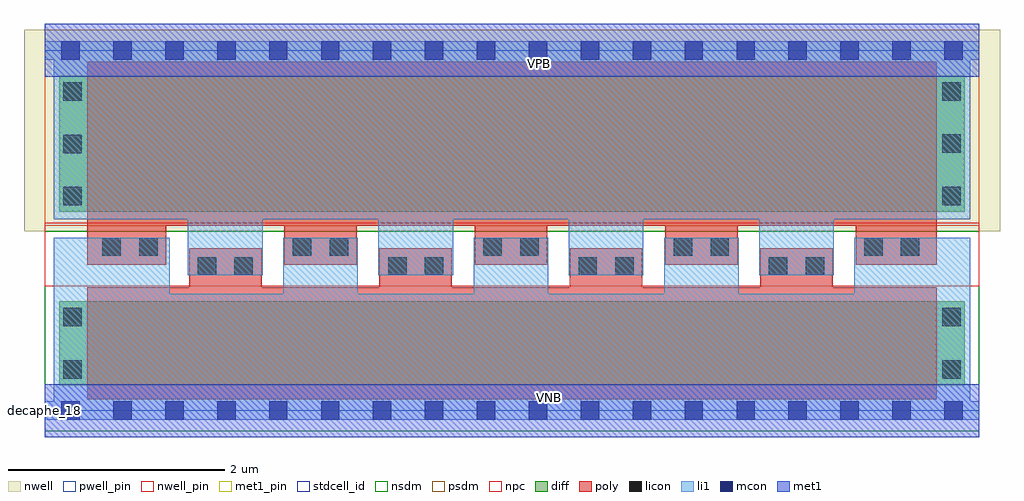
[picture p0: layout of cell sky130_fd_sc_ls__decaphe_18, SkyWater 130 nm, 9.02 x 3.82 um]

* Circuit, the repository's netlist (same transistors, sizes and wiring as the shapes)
* Copyright 2020 The SkyWater PDK Authors
*
* Licensed under the Apache License, Version 2.0 (the "License");
* you may not use this file except in compliance with the License.
* You may obtain a copy of the License at
*
*     https://www.apache.org/licenses/LICENSE-2.0
*
* Unless required by applicable law or agreed to in writing, software
* distributed under the License is distributed on an "AS IS" BASIS,
* WITHOUT WARRANTIES OR CONDITIONS OF ANY KIND, either express or implied.
* See the License for the specific language governing permissions and
* limitations under the License.
*
* SPDX-License-Identifier: Apache-2.0

.SUBCKT sky130_fd_sc_ls__decaphe_18 VGND VNB VPB VPWR
*.PININFO VGND:I VNB:I VPB:I VPWR:I
MI0 VGND VPWR VGND VNB sky130_fd_pr__nfet_01v8 m=1 w=0.775U l=7.85U mult=1 sa=0.265
+ sb=0.265 sd=0.28 area=0.063 perim=1.14
MI1 VPWR VGND VPWR VPB sky130_fd_pr__pfet_01v8 m=1 w=1.255U l=7.85U mult=1 sa=0.265
+ sb=0.265 sd=0.28 area=0.063 perim=1.14
.ENDS sky130_fd_sc_ls__decaphe_18

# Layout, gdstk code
import gdstk
lib = gdstk.Library(unit=1e-6, precision=1e-09)
def R(c, l, rs):  # rectangles x0, y0, x1, y1
    for r in rs: c.add(gdstk.rectangle(r[:2], r[2:], *l))
def A(c, l, x, y, w, h, nx, ny, dx, dy):  # array of equal rectangles
    R(c, l, [(x+i*dx, y+j*dy, x+i*dx+w, y+j*dy+h) for i in range(nx) for j in range(ny)])
def P(c, l, *ps):  # polygons
    for p in ps: c.add(gdstk.Polygon(p, *l))
nwell_pin = (64, 16)
nwell = (64, 20)
diff = (65, 20)
poly = (66, 20)
licon = (66, 44)
li1 = (67, 20)
mcon = (67, 44)
met1_pin = (68, 16)
met1 = (68, 20)
stdcell_id = (81, 4)
nsdm = (93, 44)
psdm = (94, 20)
npc = (95, 20)
pwell_pin = (122, 16)

sky130_fd_sc_ls__decaphe = lib.new_cell('sky130_fd_sc_ls__decaphe_18')
R(sky130_fd_sc_ls__decaphe, nwell_pin, [(0,3.085,8.64,3.33)])
R(sky130_fd_sc_ls__decaphe, nwell, [(-0.19,1.66,8.83,3.52)])
R(sky130_fd_sc_ls__decaphe, diff, [(0.135,0.235,8.505,1.01), (0.135,1.84,8.505,3.095)])
P(sky130_fd_sc_ls__decaphe, poly, [(8.245,1.14),(7.285,1.14),(7.285,1.5),(6.615,1.5),(6.615,1.14),(5.525,1.14),(5.525,1.5),(4.855,1.5),(4.855,1.14),(3.765,1.14),(3.765,1.5),(3.095,1.5),(3.095,1.14),(2.005,1.14),(2.005,1.5),(1.335,1.5),(1.335,1.14),(0.395,1.14),(0.395,0.105),(8.245,0.105)],
  [(8.245,3.225),(0.395,3.225),(0.395,1.35),(1.125,1.35),(1.125,1.71),(2.215,1.71),(2.215,1.35),(2.885,1.35),(2.885,1.71),(3.975,1.71),(3.975,1.35),(4.645,1.35),(4.645,1.71),(5.735,1.71),(5.735,1.35),(6.405,1.35),(6.405,1.71),(7.495,1.71),(7.495,1.35),(8.245,1.35)])
R(sky130_fd_sc_ls__decaphe, licon, [(0.175,0.295,0.345,0.465), (8.295,0.295,8.465,0.465), (0.175,0.78,0.345,0.95), (8.295,0.78,8.465,0.95), (1.415,1.25,1.585,1.42), (1.755,1.25,1.925,1.42), (3.175,1.25,3.345,1.42), (3.515,1.25,3.685,1.42), (4.935,1.25,5.105,1.42), (5.275,1.25,5.445,1.42), (6.695,1.25,6.865,1.42), (7.035,1.25,7.205,1.42), (0.535,1.43,0.705,1.6), (0.875,1.43,1.045,1.6), (2.295,1.43,2.465,1.6), (2.635,1.43,2.805,1.6), (4.055,1.43,4.225,1.6), (4.395,1.43,4.565,1.6), (5.815,1.43,5.985,1.6), (6.155,1.43,6.325,1.6), (7.575,1.43,7.745,1.6), (7.915,1.43,8.085,1.6), (0.175,1.9,0.345,2.07), (8.295,1.9,8.465,2.07), (0.175,2.38,0.345,2.55), (8.295,2.385,8.465,2.555), (0.175,2.865,0.345,3.035), (8.295,2.865,8.465,3.035)])
P(sky130_fd_sc_ls__decaphe, li1, [(8.64,0.085),(8.555,0.085),(8.555,1.6),(7.485,1.6),(7.485,1.08),(6.415,1.08),(6.415,1.6),(5.725,1.6),(5.725,1.08),(4.655,1.08),(4.655,1.6),(3.965,1.6),(3.965,1.08),(2.895,1.08),(2.895,1.6),(2.205,1.6),(2.205,1.08),(1.155,1.08),(1.155,1.6),(0.085,1.6),(0.085,0.085),(0,0.085),(0,-0.085),(8.64,-0.085)],
  [(8.64,3.415),(0,3.415),(0,3.245),(0.085,3.245),(0.085,1.77),(1.325,1.77),(1.325,1.25),(2.015,1.25),(2.015,1.77),(3.085,1.77),(3.085,1.25),(3.775,1.25),(3.775,1.77),(4.845,1.77),(4.845,1.25),(5.535,1.25),(5.535,1.77),(6.605,1.77),(6.605,1.25),(7.295,1.25),(7.295,1.77),(8.555,1.77),(8.555,3.245),(8.64,3.245)])
A(sky130_fd_sc_ls__decaphe, mcon, 0.155, -0.085, 0.17, 0.17, 18, 2, 0.48, 3.33)
R(sky130_fd_sc_ls__decaphe, met1_pin, [(0,0,8.64,0.245), (0,3.085,8.64,3.33)])
R(sky130_fd_sc_ls__decaphe, met1, [(0,-0.245,8.64,0.245), (0,3.085,8.64,3.575)])
R(sky130_fd_sc_ls__decaphe, stdcell_id, [(0,0,8.64,3.33)])
R(sky130_fd_sc_ls__decaphe, nsdm, [(0,-0.19,8.64,1.66)])
R(sky130_fd_sc_ls__decaphe, psdm, [(0,1.71,8.64,3.52)])
R(sky130_fd_sc_ls__decaphe, npc, [(0,1.15,8.64,1.735)])
R(sky130_fd_sc_ls__decaphe, pwell_pin, [(0,0,8.64,0.245)])
sky130_fd_sc_ls__decaphe.add(gdstk.Label('VNB', (4.665,0.123), layer=64, texttype=59))
sky130_fd_sc_ls__decaphe.add(gdstk.Label('VPB', (4.57,3.208), layer=64, texttype=5))
sky130_fd_sc_ls__decaphe.add(gdstk.Label('decaphe_18', (0,0), layer=83, texttype=44))
sky130_fd_sc_ls__decaphe.add(gdstk.Label('VGND', (4.66,0.123), layer=68, texttype=5))
sky130_fd_sc_ls__decaphe.add(gdstk.Label('VPWR', (4.61,3.208), layer=68, texttype=5))

lib.write_gds('sky130_fd_sc_ls__decaphe_18.gds')
